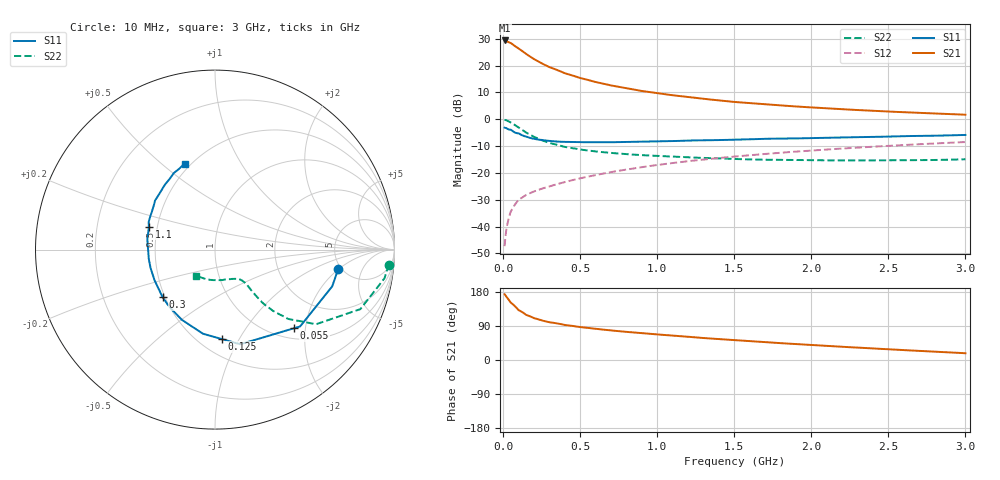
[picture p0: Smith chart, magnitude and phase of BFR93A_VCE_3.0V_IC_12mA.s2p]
! Infineon Technologies  Discrete & RF Semiconductors
! BFR93A
! VCE =  3.0 V,  IC =  12 mA
! Common Emitter S-Parameters:  Nov 2015
# GHz  S  MA  R  50
!  f  S11  S21  S12  S22
! GHz  MAG  ANG  MAG  ANG  MAG  ANG  MAG  ANG
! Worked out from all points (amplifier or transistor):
!   180 points, 10 MHz to 3 GHz, reference 50 ohm
!   highest |S21| = 29.3 dB at 10 MHz (marker M1)
!   |S21| within 3 dB of that: start of sweep to 101.1 MHz
!   unconditionally stable (mu >= 1): 527.8 MHz to 2.933 GHz
!   at 160 MHz: K = 0.56, MSG = 25.9 dB, |S12| = -28.0 dB
!   at 1.22 GHz: K = 1.09, MAG = 10.0 dB, |S12| = -15.5 dB
!   at 3 GHz: K = 0.99, MSG = 5.1 dB, |S12| = -8.5 dB
!   S11 on the Smith chart (normalised r, x): 10 MHz: 4.73, -1.95; 55 MHz: 1.22, -1.74; 125 MHz: 0.64, -0.85; 300 MHz: 0.49, -0.31; 1.1 GHz: 0.45, +0.14; 3 GHz: 0.46, +0.60
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0.01  0.6954 -8.8  29.32 173.6  0.0043 86.2  0.9719 -4.9
0.02  0.6844 -17.4  28.85 167.7  0.0083 81.5  0.9577 -9.6
0.035  0.6464 -29.3  27.3 159.9  0.0136 74.6  0.9107 -15.7
0.05  0.6389 -42.1  26.3 151.4  0.019 71.6  0.8749 -22.3
0.055  0.6215 -44.8  25.65 149.8  0.0202 70.1  0.8555 -23.4
0.1  0.5455 -75.1  20.86 131.9  0.0313 61.7  0.7003 -36.4
0.125  0.4994 -85.8  18.49 126.2  0.035 59.4  0.6302 -39.5
0.15  0.4736 -98.1  16.35 119.0  0.0388 57.5  0.5625 -43.4
0.2  0.4324 -115.3  13.21 110.6  0.0449 56.8  0.4695 -46.6
0.26  0.4051 -130.0  10.64 103.5  0.0516 57.3  0.397 -48.2
0.3  0.3946 -137.6  9.371 99.7  0.0558 58.2  0.3617 -48.4
0.4  0.3779 -152.8  7.201 92.5  0.0672 60.3  0.3045 -48.3
0.52  0.3727 -165.8  5.669 86.1  0.0814 61.8  0.2677 -47.8
0.6  0.3725 -172.5  4.932 82.2  0.0909 62.5  0.2499 -47.9
0.7  0.3719 -178.8  4.258 78.0  0.1033 63.0  0.235 -48.4
0.9  0.3824 169.9  3.357 70.9  0.1277 62.9  0.2135 -50.7
1.02  0.3853 164.2  2.995 66.9  0.1424 62.6  0.2056 -52.6
1.1  0.3905 160.8  2.794 64.3  0.1523 62.1  0.2006 -54.5
1.52  0.4159 146.4  2.076 52.0  0.2035 58.8  0.1806 -65.9
2.02  0.4457 132.0  1.644 39.2  0.2627 53.9  0.1715 -83.2
2.52  0.4763 120.4  1.381 27.9  0.321 47.9  0.1711 -103.1
3  0.5083 109.5  1.212 17.9  0.3753 41.9  0.1792 -125.8
